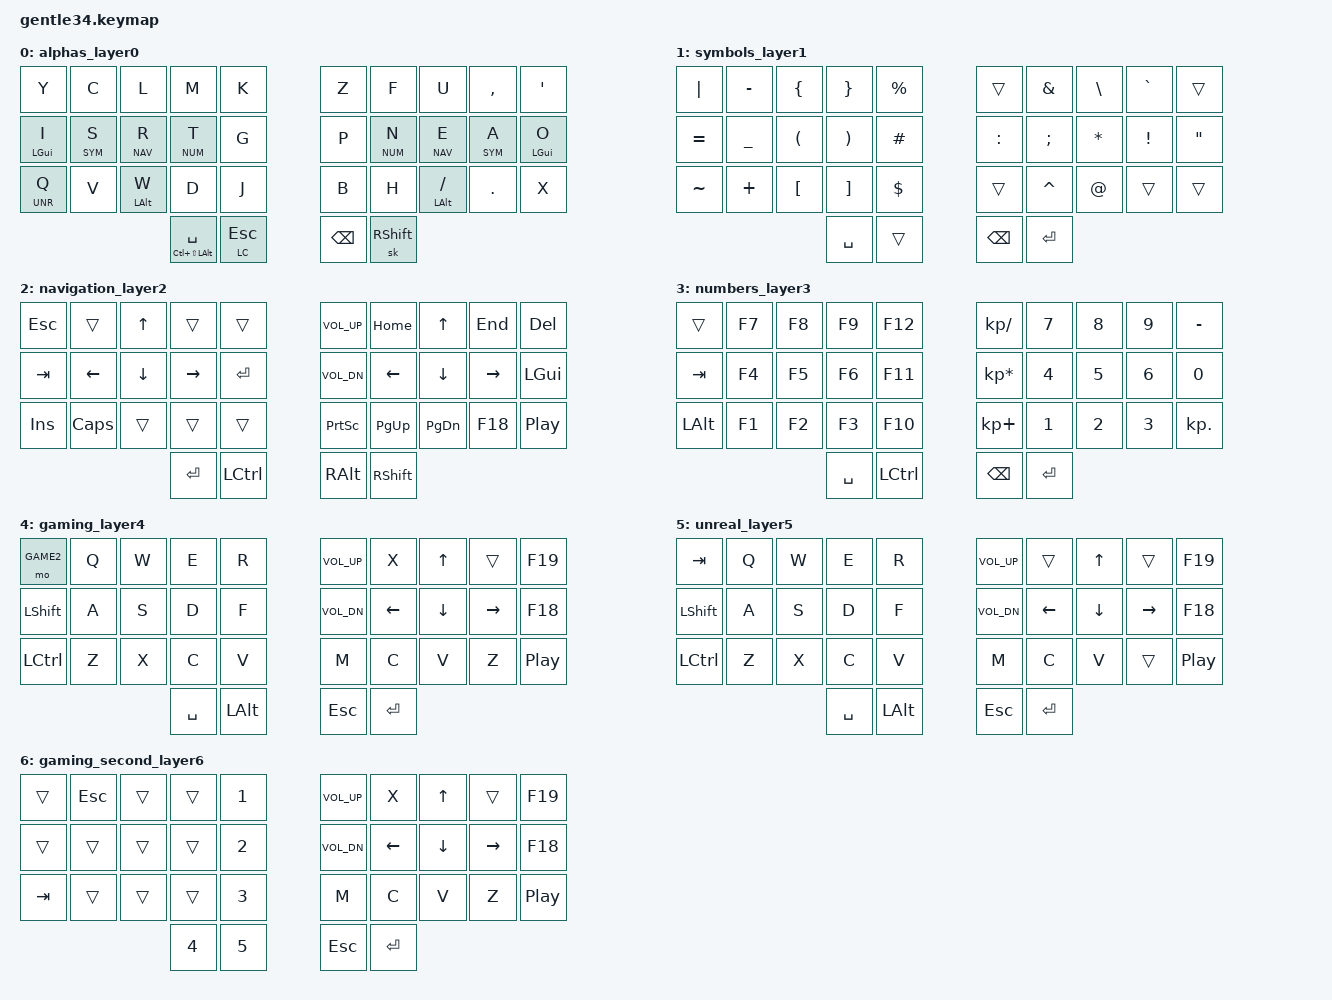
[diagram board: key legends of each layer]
/*
 * Copyright (c) 2020 The ZMK Contributors
 *
 * SPDX-License-Identifier: MIT
 */

#include <behaviors.dtsi>
#include <dt-bindings/zmk/keys.h>
#include <dt-bindings/zmk/bt.h>


&mt {
    tapping-term-ms = <201>;
    flavor = "tap-preferred";
};
&sk {
     release-after-ms = <2000>;
     quick-release;
};

/* Layers */
#define AL 0
#define SYM 1
#define NAV 2
#define NUM 3
#define GAME 4
#define UNR 5
#define GAME2 6

/ {

        behaviors {
                hrl: homerow_layers {
                        compatible = "zmk,behavior-hold-tap";
                        label = "HOMEROW_LAYERS";
                        #binding-cells = <2>;
                        tapping-term-ms = <240>;
                        quick_tap_ms = <0>;
                        flavor = "tap-preferred";
                        bindings = <&mo>, <&kp>;
                };
        };

        macros {
                OSsym: one_shot_system_layer {
                        compatible = "zmk,behavior-macro";
                        label = "MACRO1";
                        #binding-cells = <0>;
                        bindings = <&sl SYM>;
                };
        };

        combos {
                compatible = "zmk,combos";
                combo_caps {
                        timeout-ms = <30>;
                        key-positions = <16 17 18>; // keys nea
                        bindings = <&caps_word>;
                        layers = <AL>;
                };
                combo_gaming {
                        timeout-ms = <30>;
                        key-positions = <27 28 29>; // keys /.x
                        bindings = <&to 4>;
                        layers = <AL>;
                };
                combo_OSsym_left {
			timeout-ms = <30>;
			key-positions = <11 12>; // keys rt
			bindings = <&OSsym>;
		        layers = <AL>;
		        };
                combo_OSsym_right {
			timeout-ms = <30>;
			key-positions = <17 18>; // keys ne
			bindings = <&OSsym>;
		        layers = <AL>;
		        };
                combo_AL {
                        timeout-ms = <30>;
                        key-positions = <26 27 28>; // keys h/.
                        bindings = <&to AL>; 
                };
                combo_BT_profile_clear {
                        timeout-ms = <30>;
                        key-positions = <9 29>; // keys 'x
                        bindings = <&bt BT_CLR>;
                        layers = <NAV>;
                };
                combo_enter_left {
                        timeout-ms = <30>;
                        key-positions = <12 13>; // keys sr
                        bindings = <&kp ENTER>;
                        layers = <AL>;
                };
                combo_enter_right {
                        timeout-ms = <30>;
                        key-positions = <16 17>; // keys ea
                        bindings = <&kp ENTER>;
                        layers = <AL>;
                };
								combo_tab_left {
												timeout-ms = <30>;
												key-positions = <11 12>; // keys is
												bindings = <&kp TAB>;
												layers = <AL>;
								};
								combo_tab_right {
												timeout-ms = <30>;
												key-positions = <19 20>; //keys ao
												bindings = <&kp TAB>;
												layers = <AL>;
								};
        };
};

/ {
        keymap {
                compatible = "zmk,keymap";

                alphas_layer0 {
                bindings = <
        &kp Y           &kp C           &kp L           &kp M           &kp K                   &kp Z           &kp F           &kp U           &kp COMMA       &kp APOS      
        &mt LGUI I      &hrl SYM S      &hrl NAV R      &hrl NUM T      &kp G                   &kp P           &hrl NUM N      &hrl NAV E      &hrl SYM A      &mt LGUI O        
        &hrl UNR Q      &kp V           &mt LALT W      &kp D           &kp J                   &kp B           &kp H           &mt LALT FSLH   &kp DOT         &kp X        
                                                &mt LC(LS(LALT)) SPACE  &mt LC ESC              &kp BSPC        &sk RSHFT       
                        >;
                };
                
                symbols_layer1 {
                bindings = <
        &kp PIPE        &kp MINUS       &kp LBRC        &kp RBRC        &kp PRCNT               &trans          &kp AMPS        &kp BSLH        &kp GRAVE       &trans          
        &kp EQUAL       &kp UNDER       &kp LPAR        &kp RPAR        &kp HASH                &kp COLON       &kp SEMI        &kp STAR        &kp EXCL        &kp DQT         
        &kp TILDE       &kp PLUS        &kp LBKT        &kp RBKT        &kp DLLR                &trans          &kp CARET       &kp AT          &trans          &trans          
                                                        &kp SPACE       &trans                  &kp BSPC        &kp ENTER
                        >;
                };

                navigation_layer2 {
                bindings = <
        &kp ESC         &trans          &kp UP          &trans          &trans                  &kp C_VOL_UP    &kp HOME        &kp UP          &kp END         &kp DEL         
        &kp TAB         &kp LEFT        &kp DOWN        &kp RIGHT       &kp ENTER               &kp C_VOL_DN    &kp LEFT        &kp DOWN        &kp RIGHT       &kp LGUI     
        &kp INS         &kp CAPS        &trans          &trans          &trans                  &kp PSCRN       &kp PG_UP       &kp PG_DN       &kp F18         &kp C_PLAY_PAUSE
                                                        &kp ENTER       &kp LCTRL               &kp RALT        &kp RSHFT       
                        >;
                };
                
                numbers_layer3 {
                bindings = <
        &trans          &kp F7          &kp F8          &kp F9          &kp F12                 &kp KP_SLASH    &kp N7          &kp N8          &kp N9          &kp MINUS       
        &kp TAB         &kp F4          &kp F5          &kp F6          &kp F11                 &kp KP_ASTERISK &kp N4          &kp N5          &kp N6          &kp N0          
        &kp LALT        &kp F1          &kp F2          &kp F3          &kp F10                 &kp KP_PLUS     &kp N1          &kp N2          &kp N3          &kp KP_DOT      
                                                        &kp SPACE       &kp LCTRL               &kp BSPC        &kp ENTER
                        >;
                };
                
                gaming_layer4 {
                bindings = <
        &mo GAME2       &kp Q           &kp W           &kp E           &kp R                   &kp C_VOL_UP    &kp X           &kp UP          &trans          &kp F19         
        &kp LSHFT       &kp A           &kp S           &kp D           &kp F                   &kp C_VOL_DN    &kp LEFT        &kp DOWN        &kp RIGHT       &kp F18         
        &kp LCTRL       &kp Z           &kp X           &kp C           &kp V                   &kp M           &kp C           &kp V           &kp Z           &kp C_PP        
                                                        &kp SPACE       &kp LALT                &kp ESC         &kp ENTER       
                        >;
                };

                unreal_layer5 {
                bindings = <
        &kp TAB         &kp Q           &kp W           &kp E           &kp R                   &kp C_VOL_UP    &trans          &kp UP          &trans          &kp F19         
        &kp LSHFT       &kp A           &kp S           &kp D           &kp F                   &kp C_VOL_DN    &kp LEFT        &kp DOWN        &kp RIGHT       &kp F18         
        &kp LCTRL       &kp Z           &kp X           &kp C           &kp V                   &kp M           &kp C           &kp V           &trans          &kp C_PP        
                                                        &kp SPACE       &kp LALT                &kp ESC         &kp ENTER       
                        >;
                };

                gaming_second_layer6 {
                bindings = <
        &trans          &kp ESC         &trans          &trans          &kp N1                  &kp C_VOL_UP    &kp X           &kp UP          &trans          &kp F19         
        &trans          &trans          &trans          &trans          &kp N2                  &kp C_VOL_DN    &kp LEFT        &kp DOWN        &kp RIGHT       &kp F18         
        &kp TAB         &trans          &trans          &trans          &kp N3                  &kp M           &kp C           &kp V           &kp Z           &kp C_PP        
                                                        &kp N4         &kp N5                  &kp ESC         &kp ENTER       
                        >;
                };

        };
};
